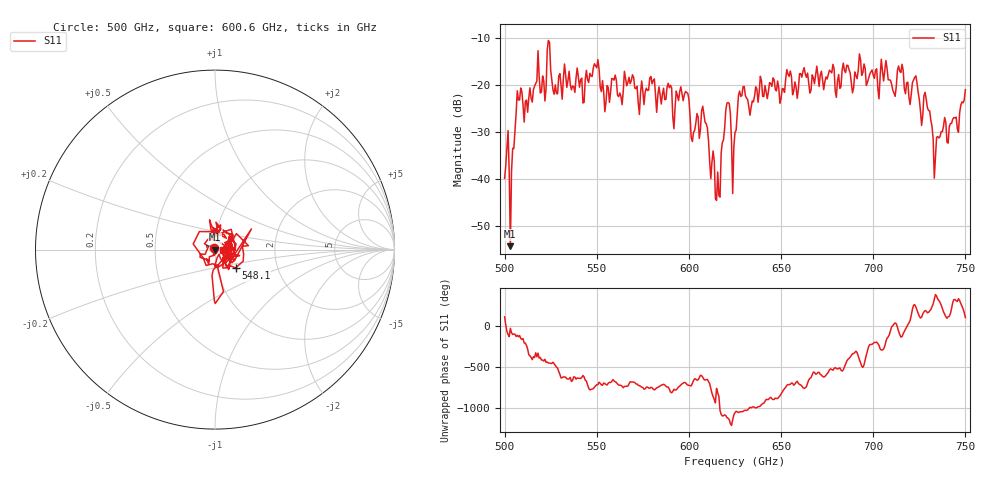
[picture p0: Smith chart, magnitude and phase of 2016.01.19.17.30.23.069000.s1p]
!Created with skrf (http://scikit-rf.org).
# GHz S RI R 50.0
!freq ReS11 ImS11
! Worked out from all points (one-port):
!   401 points, 500 GHz to 750 GHz, reference 50 ohm
!   lowest |S11| = -54.3 dB at 503.1 GHz (marker M1), VSWR 1.00, Z = 50.2 - j0.096 ohm
!   |S11| at or under -10 dB: start of sweep to end of sweep
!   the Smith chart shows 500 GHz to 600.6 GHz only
!   S11 on the Smith chart (normalised r, x): 500 GHz: 0.99, +0.02; 548.1 GHz: 1.23, -0.26; 600.6 GHz: 1.10, -0.00
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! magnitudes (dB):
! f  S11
! 500 GHz  -39.8
! 503.1 GHz  -54.3
! 508.1 GHz  -23.1
! 521.2 GHz  -19.1
! 524.4 GHz  -10.9
! 527.5 GHz  -19.9
! 531.2 GHz  -23.0
! 548.1 GHz  -16.3
! 562.5 GHz  -21.6
! 568.8 GHz  -19.0
! 593.8 GHz  -22.2
! 598.8 GHz  -21.5
! 600.6 GHz  -26.6
! 608.1 GHz  -26.2
! 615.6 GHz  -38.5
! 620.6 GHz  -23.8
! 625 GHz  -30.0
! 628.8 GHz  -22.2
! 633.8 GHz  -24.7
! 656.2 GHz  -22.0
! 687.5 GHz  -17.4
! 705.6 GHz  -19.1
! 711.2 GHz  -21.6
! 715 GHz  -17.3
! 718.8 GHz  -19.3
! 728.8 GHz  -23.0
! 733.8 GHz  -35.4
! 750 GHz  -20.9
